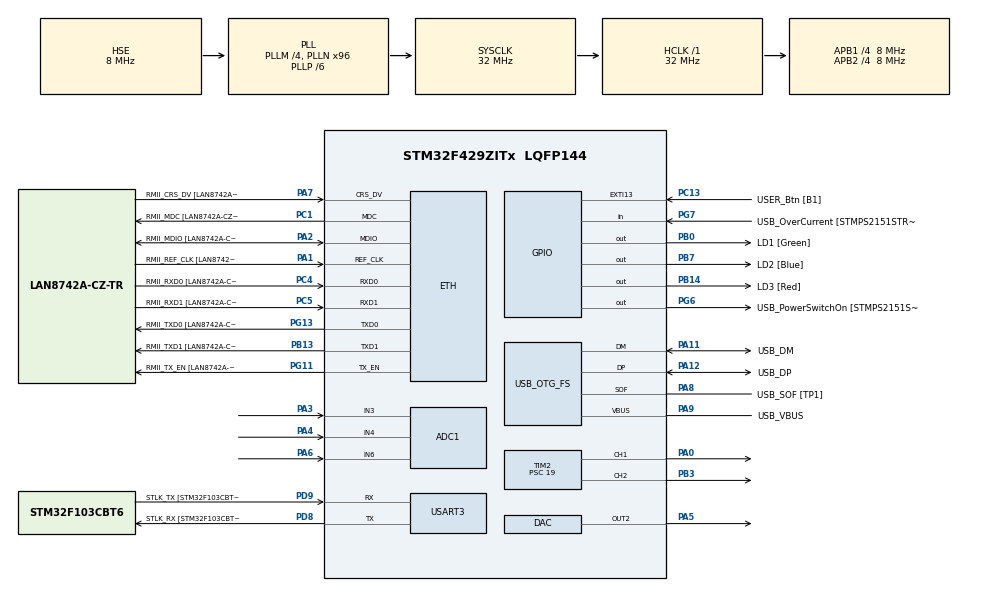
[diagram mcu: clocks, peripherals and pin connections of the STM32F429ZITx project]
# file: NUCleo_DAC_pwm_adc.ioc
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ADC1.Channel-0\#ChannelRegularConversion=ADC_CHANNEL_3
ADC1.Channel-1\#ChannelRegularConversion=ADC_CHANNEL_4
ADC1.Channel-2\#ChannelRegularConversion=ADC_CHANNEL_6
ADC1.ContinuousConvMode=ENABLE
ADC1.DMAContinuousRequests=ENABLE
ADC1.EOCSelection=ADC_EOC_SEQ_CONV
ADC1.NbrOfConversion=3
ADC1.NbrOfConversionFlag=1
ADC1.Rank-0\#ChannelRegularConversion=1
ADC1.Rank-1\#ChannelRegularConversion=2
ADC1.Rank-2\#ChannelRegularConversion=3
ADC1.SamplingTime-0\#ChannelRegularConversion=ADC_SAMPLETIME_112CYCLES
ADC1.SamplingTime-1\#ChannelRegularConversion=ADC_SAMPLETIME_112CYCLES
ADC1.SamplingTime-2\#ChannelRegularConversion=ADC_SAMPLETIME_56CYCLES
ADC1.ScanConvMode=ENABLE
ADC1.master=1
Dma.ADC1.0.Direction=DMA_PERIPH_TO_MEMORY
Dma.ADC1.0.FIFOMode=DMA_FIFOMODE_DISABLE
Dma.ADC1.0.Instance=DMA2_Stream0
Dma.ADC1.0.MemDataAlignment=DMA_MDATAALIGN_WORD
Dma.ADC1.0.MemInc=DMA_MINC_ENABLE
Dma.ADC1.0.Mode=DMA_CIRCULAR
Dma.ADC1.0.PeriphDataAlignment=DMA_PDATAALIGN_WORD
Dma.ADC1.0.PeriphInc=DMA_PINC_DISABLE
Dma.ADC1.0.Priority=DMA_PRIORITY_MEDIUM
Dma.DAC2.2.Direction=DMA_MEMORY_TO_PERIPH
Dma.DAC2.2.FIFOMode=DMA_FIFOMODE_DISABLE
Dma.DAC2.2.Instance=DMA1_Stream6
Dma.DAC2.2.MemDataAlignment=DMA_MDATAALIGN_WORD
Dma.DAC2.2.MemInc=DMA_MINC_ENABLE
Dma.DAC2.2.Mode=DMA_CIRCULAR
Dma.DAC2.2.PeriphDataAlignment=DMA_PDATAALIGN_WORD
Dma.DAC2.2.PeriphInc=DMA_PINC_DISABLE
Dma.DAC2.2.Priority=DMA_PRIORITY_MEDIUM
Dma.Request0=ADC1
Dma.Request1=TIM2_CH1
Dma.Request2=DAC2
Dma.TIM2_CH1.1.Direction=DMA_PERIPH_TO_MEMORY
Dma.TIM2_CH1.1.FIFOMode=DMA_FIFOMODE_DISABLE
Dma.TIM2_CH1.1.Instance=DMA1_Stream5
Dma.TIM2_CH1.1.MemDataAlignment=DMA_MDATAALIGN_WORD
Dma.TIM2_CH1.1.MemInc=DMA_MINC_ENABLE
Dma.TIM2_CH1.1.Mode=DMA_CIRCULAR
Dma.TIM2_CH1.1.PeriphDataAlignment=DMA_PDATAALIGN_WORD
Dma.TIM2_CH1.1.PeriphInc=DMA_PINC_DISABLE
Dma.TIM2_CH1.1.Priority=DMA_PRIORITY_MEDIUM
ETH.MediaInterface=HAL_ETH_RMII_MODE
ETH.PHY_Name=LAN8742A_PHY_ADDRESS
ETH.PHY_Value=0
ETH.PhyAddress=0
FREERTOS.Tasks01=Task1_LcnfigDAC,16,128,StartTask01,Default,NULL,Dynamic,NULL,NULL;Task2_LcnfigPWM,24,128,StartTask02,Default,NULL,Dynamic,NULL,NULL;Task3_ScnfigPWM,40,128,StartTask03,Default,NULL,Dynamic,NULL,NULL
Mcu.Family=STM32F4
Mcu.Name=STM32F429ZITx
Mcu.Package=LQFP144
NVIC.DMA1_Stream5_IRQn=true\:5\:0\:false\:false\:true\:true\:false\:true\:true
NVIC.DMA1_Stream6_IRQn=true\:5\:0\:false\:false\:true\:true\:false\:true\:true
NVIC.DMA2_Stream0_IRQn=true\:5\:0\:false\:false\:true\:true\:false\:true\:true
NVIC.PriorityGroup=NVIC_PRIORITYGROUP_4
NVIC.TIM7_IRQn=true\:15\:0\:false\:false\:true\:false\:false\:true\:true
NVIC.TimeBase=TIM7_IRQn
NVIC.TimeBaseIP=TIM7
PA0/WKUP.Signal=S_TIM2_CH1_ETR
PA1.GPIO_Label=RMII_REF_CLK [LAN8742A-CZ-TR_REFCLK0]
PA1.Mode=RMII
PA1.Signal=ETH_REF_CLK
PA10.GPIO_Label=USB_ID
PA10.Signal=USB_OTG_FS_ID
PA11.GPIO_Label=USB_DM
PA11.Mode=Device_Only
PA11.Signal=USB_OTG_FS_DM
PA12.GPIO_Label=USB_DP
PA12.Mode=Device_Only
PA12.Signal=USB_OTG_FS_DP
PA13.GPIO_Label=TMS
PA13.Mode=Serial_Wire
PA13.Signal=SYS_JTMS-SWDIO
PA14.GPIO_Label=TCK
PA14.Mode=Serial_Wire
PA14.Signal=SYS_JTCK-SWCLK
PA2.GPIO_Label=RMII_MDIO [LAN8742A-CZ-TR_MDIO]
PA2.Mode=RMII
PA2.Signal=ETH_MDIO
PA3.Signal=ADCx_IN3
PA4.Signal=ADCx_IN4
PA5.Signal=COMP_DAC2_group
PA6.Signal=ADCx_IN6
PA7.GPIO_Label=RMII_CRS_DV [LAN8742A-CZ-TR_CRS_DV]
PA7.Mode=RMII
PA7.Signal=ETH_CRS_DV
PA8.GPIO_Label=USB_SOF [TP1]
PA8.Mode=Activate_SOF_FS
PA8.Signal=USB_OTG_FS_SOF
PA9.GPIO_Label=USB_VBUS
PA9.Mode=Activate_VBUS
PA9.Signal=USB_OTG_FS_VBUS
PB0.GPIO_Label=LD1 [Green]
PB0.Signal=GPIO_Output
PB13.GPIO_Label=RMII_TXD1 [LAN8742A-CZ-TR_TXD1]
PB13.Mode=RMII
PB13.Signal=ETH_TXD1
PB14.GPIO_Label=LD3 [Red]
PB14.Signal=GPIO_Output
PB3.Signal=S_TIM2_CH2
PB7.GPIO_Label=LD2 [Blue]
PB7.Signal=GPIO_Output
PC1.GPIO_Label=RMII_MDC [LAN8742A-CZ-TR_MDC]
PC1.Mode=RMII
PC1.Signal=ETH_MDC
PC13.GPIO_Label=USER_Btn [B1]
PC13.Signal=GPXTI13
PC14/OSC32_IN.Mode=LSE-External-Oscillator
PC14/OSC32_IN.Signal=RCC_OSC32_IN
PC15/OSC32_OUT.Mode=LSE-External-Oscillator
PC15/OSC32_OUT.Signal=RCC_OSC32_OUT
PC4.GPIO_Label=RMII_RXD0 [LAN8742A-CZ-TR_RXD0]
PC4.Mode=RMII
PC4.Signal=ETH_RXD0
PC5.GPIO_Label=RMII_RXD1 [LAN8742A-CZ-TR_RXD1]
PC5.Mode=RMII
PC5.Signal=ETH_RXD1
PD8.GPIO_Label=STLK_RX [STM32F103CBT6_PA3]
PD8.Mode=Asynchronous
PD8.Signal=USART3_TX
PD9.GPIO_Label=STLK_TX [STM32F103CBT6_PA2]
PD9.Mode=Asynchronous
PD9.Signal=USART3_RX
PG11.GPIO_Label=RMII_TX_EN [LAN8742A-CZ-TR_TXEN]
PG11.Mode=RMII
PG11.Signal=ETH_TX_EN
PG13.GPIO_Label=RMII_TXD0 [LAN8742A-CZ-TR_TXD0]
PG13.Mode=RMII
PG13.Signal=ETH_TXD0
PG6.GPIO_Label=USB_PowerSwitchOn [STMPS2151STR_EN]
PG6.Signal=GPIO_Output
PG7.GPIO_Label=USB_OverCurrent [STMPS2151STR_FAULT]
PG7.Signal=GPIO_Input
PH0/OSC_IN.GPIO_Label=MCO [STM32F103CBT6_PA8]
PH0/OSC_IN.Mode=HSE-External-Clock-Source
PH0/OSC_IN.Signal=RCC_OSC_IN
PH1/OSC_OUT.Mode=HSE-External-Clock-Source
PH1/OSC_OUT.Signal=RCC_OSC_OUT
ProjectManager.HeapSize=0x200
ProjectManager.StackSize=0x400
ProjectManager.TargetToolchain=STM32CubeIDE
RCC.48MHZClocksFreq_Value=48000000
RCC.AHBFreq_Value=32000000
RCC.APB1CLKDivider=RCC_HCLK_DIV4
RCC.APB1Freq_Value=8000000
RCC.APB1TimFreq_Value=16000000
RCC.APB2CLKDivider=RCC_HCLK_DIV4
RCC.APB2Freq_Value=8000000
RCC.APB2TimFreq_Value=16000000
RCC.CortexFreq_Value=32000000
RCC.HCLKFreq_Value=32000000
RCC.HSE_VALUE=8000000
RCC.HSI_VALUE=16000000
RCC.PLLM=4
RCC.PLLMUL=RCC_PLL_MUL9
RCC.PLLN=96
RCC.PLLP=RCC_PLLP_DIV6
RCC.PRESCALERUSB=RCC_USBCLKSOURCE_PLL_DIV1_5
RCC.SYSCLKFreq_VALUE=32000000
RCC.SYSCLKSource=RCC_SYSCLKSOURCE_PLLCLK
RCC.SYSCLKSourceVirtual=RCC_SYSCLKSOURCE_PLLCLK
RCC.USBFreq_Value=48000000
RCC.VCOOutputFreq_Value=192000000
SH.ADCx_IN3.0=ADC1_IN3,IN3
SH.ADCx_IN4.0=ADC1_IN4,IN4
SH.ADCx_IN6.0=ADC1_IN6,IN6
SH.COMP_DAC2_group.0=DAC_OUT2,DAC_OUT2
SH.S_TIM2_CH1_ETR.0=TIM2_CH1,PWM Generation1 CH1
SH.S_TIM2_CH2.0=TIM2_CH2,PWM Generation2 CH2
TIM2.AutoReloadPreload=TIM_AUTORELOAD_PRELOAD_DISABLE
TIM2.Channel-PWM\ Generation1\ CH1=TIM_CHANNEL_1
TIM2.Channel-PWM\ Generation2\ CH2=TIM_CHANNEL_2
TIM2.Period=63999
TIM2.Prescaler=19
USART3.VirtualMode=VM_ASYNC
USB_OTG_FS.VirtualMode=Device_Only
VP_FREERTOS_VS_CMSIS_V2.Mode=CMSIS_V2
VP_SYS_VS_tim7.Mode=TIM7
VP_TIM2_VS_ClockSourceINT.Mode=Internal
board=NUCLEO-F429ZI

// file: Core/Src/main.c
/* USER CODE BEGIN Header */
/**
  ******************************************************************************
  * @file           : main.c
  * @brief          : Main program body
  ******************************************************************************
  * @attention
  *
  * Copyright (c) 2024 STMicroelectronics.
  * All rights reserved.
  *
  * This software is licensed under terms that can be found in the LICENSE file
  * in the root directory of this software component.
  * If no LICENSE file comes with this software, it is provided AS-IS.
  *
  ******************************************************************************
  */
/* USER CODE END Header */
#include "main.h"
#include "string.h"
#include "cmsis_os.h"

ETH_TxPacketConfig TxConfig;
ETH_DMADescTypeDef  DMARxDscrTab[ETH_RX_DESC_CNT]; /* Ethernet Rx DMA Descriptors */
ETH_DMADescTypeDef  DMATxDscrTab[ETH_TX_DESC_CNT]; /* Ethernet Tx DMA Descriptors */

ADC_HandleTypeDef hadc1;
DMA_HandleTypeDef hdma_adc1;

DAC_HandleTypeDef hdac;
DMA_HandleTypeDef hdma_dac2;

ETH_HandleTypeDef heth;

TIM_HandleTypeDef htim2;
DMA_HandleTypeDef hdma_tim2_ch1;

UART_HandleTypeDef huart3;

PCD_HandleTypeDef hpcd_USB_OTG_FS;

/* Definitions for Task1_LcnfigDAC */
osThreadId_t Task1_LcnfigDACHandle;
const osThreadAttr_t Task1_LcnfigDAC_attributes = {
  .name = "Task1_LcnfigDAC",
  .stack_size = 128 * 4,
  .priority = (osPriority_t) osPriorityBelowNormal,
};
/* Definitions for Task2_LcnfigPWM */
osThreadId_t Task2_LcnfigPWMHandle;
const osThreadAttr_t Task2_LcnfigPWM_attributes = {
  .name = "Task2_LcnfigPWM",
  .stack_size = 128 * 4,
  .priority = (osPriority_t) osPriorityNormal,
};
/* Definitions for Task3_ScnfigPWM */
osThreadId_t Task3_ScnfigPWMHandle;
const osThreadAttr_t Task3_ScnfigPWM_attributes = {
  .name = "Task3_ScnfigPWM",
  .stack_size = 128 * 4,
  .priority = (osPriority_t) osPriorityHigh,
};

void SystemClock_Config(void);
static void MX_GPIO_Init(void);
static void MX_DMA_Init(void);
static void MX_ETH_Init(void);
static void MX_USART3_UART_Init(void);
static void MX_USB_OTG_FS_PCD_Init(void);
static void MX_ADC1_Init(void);
static void MX_TIM2_Init(void);
static void MX_DAC_Init(void);
void StartTask01(void *argument);
void StartTask02(void *argument);
void StartTask03(void *argument);

/* USER CODE BEGIN PFP */
uint8_t sizeof_ADCbuff =3;//define olarak tanımlamaya çalış.
volatile uint32_t ADCbuff_contio[3];
volatile uint32_t ADCbuff_disc[3];
volatile uint32_t ADCbuff_product1[3];
volatile uint32_t ADCbuff_product2[3];
/* USER CODE END PFP */

/* USER CODE BEGIN 0 */

void HAL_ADC_ConvCpltCallback(ADC_HandleTypeDef* hadc){
	ADCbuff_disc[0] =  ADCbuff_contio[0];//dac led
	ADCbuff_disc[1] =  ADCbuff_contio[1];//pwm led
	ADCbuff_disc[2] =  ADCbuff_contio[2];//pwm servo

}
/* USER CODE END 0 */

int main(void)
{

  /* MCU Configuration--------------------------------------------------------*/

  /* Reset of all peripherals, Initializes the Flash interface and the Systick. */
  HAL_Init();

  /* Configure the system clock */
  SystemClock_Config();

  /* Initialize all configured peripherals */
  MX_GPIO_Init();
  MX_DMA_Init();
  MX_ETH_Init();
  MX_USART3_UART_Init();
  MX_USB_OTG_FS_PCD_Init();
  MX_ADC1_Init();
  MX_TIM2_Init();
  MX_DAC_Init();
  /* USER CODE BEGIN 2 */
  HAL_ADC_Start_DMA(&hadc1, (uint32_t *)ADCbuff_contio , hadc1.Init.NbrOfConversion);
  /*
  HAL_DAC_Start_DMA(&hdac, DAC_CHANNEL_2, (uint16_t *)ADCbuff_product1 ,1 ,DAC_ALIGN_12B_R);
  HAL_TIM_PWM_Start_DMA(&htim2, TIM_CHANNEL_1, (uint16_t *)ADCbuff_product2[0],1);//first led  , second servo
  HAL_TIM_PWM_Start_DMA(&htim2, TIM_CHANNEL_2, (uint16_t *)ADCbuff_product2[1],1);
  */

  HAL_DAC_Start_DMA(&hdac, DAC_CHANNEL_2, (uint32_t *)ADCbuff_product1[0] ,sizeof(ADCbuff_product1[0])/sizeof(ADCbuff_product1[0]),DAC_ALIGN_12B_R);
  HAL_TIM_PWM_Start_DMA(&htim2, TIM_CHANNEL_1, (uint32_t *)ADCbuff_product2[0],1);//first led  , second servo
  HAL_TIM_PWM_Start_DMA(&htim2, TIM_CHANNEL_2, (uint32_t *)ADCbuff_product2[1],1);
  /* USER CODE END 2 */

  /* Init scheduler */
  osKernelInitialize();

  /* Create the thread(s) */
  /* creation of Task1_LcnfigDAC */
  Task1_LcnfigDACHandle = osThreadNew(StartTask01, NULL, &Task1_LcnfigDAC_attributes);

  /* creation of Task2_LcnfigPWM */
  Task2_LcnfigPWMHandle = osThreadNew(StartTask02, NULL, &Task2_LcnfigPWM_attributes);

  /* creation of Task3_ScnfigPWM */
  Task3_ScnfigPWMHandle = osThreadNew(StartTask03, NULL, &Task3_ScnfigPWM_attributes);

  /* Start scheduler */
  osKernelStart();
  /* We should never get here as control is now taken by the scheduler */
  /* Infinite loop */
  while (1)
  {

  }
}

void SystemClock_Config(void)
{
  RCC_OscInitTypeDef RCC_OscInitStruct = {0};
  RCC_ClkInitTypeDef RCC_ClkInitStruct = {0};

  /** Configure the main internal regulator output voltage
  */
  __HAL_RCC_PWR_CLK_ENABLE();
  __HAL_PWR_VOLTAGESCALING_CONFIG(PWR_REGULATOR_VOLTAGE_SCALE3);

  /** Initializes the RCC Oscillators according to the specified parameters
  * in the RCC_OscInitTypeDef structure.
  */
  RCC_OscInitStruct.OscillatorType = RCC_OSCILLATORTYPE_HSE;
  RCC_OscInitStruct.HSEState = RCC_HSE_BYPASS;
  RCC_OscInitStruct.PLL.PLLState = RCC_PLL_ON;
  RCC_OscInitStruct.PLL.PLLSource = RCC_PLLSOURCE_HSE;
  RCC_OscInitStruct.PLL.PLLM = 4;
  RCC_OscInitStruct.PLL.PLLN = 96;
  RCC_OscInitStruct.PLL.PLLP = RCC_PLLP_DIV6;
  RCC_OscInitStruct.PLL.PLLQ = 4;
  if (HAL_RCC_OscConfig(&RCC_OscInitStruct) != HAL_OK)
  {
    Error_Handler();
  }

  /** Initializes the CPU, AHB and APB buses clocks
  */
  RCC_ClkInitStruct.ClockType = RCC_CLOCKTYPE_HCLK|RCC_CLOCKTYPE_SYSCLK
                              |RCC_CLOCKTYPE_PCLK1|RCC_CLOCKTYPE_PCLK2;
  RCC_ClkInitStruct.SYSCLKSource = RCC_SYSCLKSOURCE_PLLCLK;
  RCC_ClkInitStruct.AHBCLKDivider = RCC_SYSCLK_DIV1;
  RCC_ClkInitStruct.APB1CLKDivider = RCC_HCLK_DIV4;
  RCC_ClkInitStruct.APB2CLKDivider = RCC_HCLK_DIV4;

  if (HAL_RCC_ClockConfig(&RCC_ClkInitStruct, FLASH_LATENCY_1) != HAL_OK)
  {
    Error_Handler();
  }
}

static void MX_ADC1_Init(void)
{

  ADC_ChannelConfTypeDef sConfig = {0};

  /** Configure the global features of the ADC (Clock, Resolution, Data Alignment and number of conversion)
  */
  hadc1.Instance = ADC1;
  hadc1.Init.ClockPrescaler = ADC_CLOCK_SYNC_PCLK_DIV2;
  hadc1.Init.Resolution = ADC_RESOLUTION_12B;
  hadc1.Init.ScanConvMode = ENABLE;
  hadc1.Init.ContinuousConvMode = ENABLE;
  hadc1.Init.DiscontinuousConvMode = DISABLE;
  hadc1.Init.ExternalTrigConvEdge = ADC_EXTERNALTRIGCONVEDGE_NONE;
  hadc1.Init.ExternalTrigConv = ADC_SOFTWARE_START;
  hadc1.Init.DataAlign = ADC_DATAALIGN_RIGHT;
  hadc1.Init.NbrOfConversion = 3;
  hadc1.Init.DMAContinuousRequests = ENABLE;
  hadc1.Init.EOCSelection = ADC_EOC_SEQ_CONV;
  if (HAL_ADC_Init(&hadc1) != HAL_OK)
  {
    Error_Handler();
  }

  /** Configure for the selected ADC regular channel its corresponding rank in the sequencer and its sample time.
  */
  sConfig.Channel = ADC_CHANNEL_3;
  sConfig.Rank = 1;
  sConfig.SamplingTime = ADC_SAMPLETIME_112CYCLES;
  if (HAL_ADC_ConfigChannel(&hadc1, &sConfig) != HAL_OK)
  {
    Error_Handler();
  }

  /** Configure for the selected ADC regular channel its corresponding rank in the sequencer and its sample time.
  */
  sConfig.Channel = ADC_CHANNEL_4;
  sConfig.Rank = 2;
  if (HAL_ADC_ConfigChannel(&hadc1, &sConfig) != HAL_OK)
  {
    Error_Handler();
  }

  /** Configure for the selected ADC regular channel its corresponding rank in the sequencer and its sample time.
  */
  sConfig.Channel = ADC_CHANNEL_6;
  sConfig.Rank = 3;
  sConfig.SamplingTime = ADC_SAMPLETIME_56CYCLES;
  if (HAL_ADC_ConfigChannel(&hadc1, &sConfig) != HAL_OK)
  {
    Error_Handler();
  }

}

static void MX_DAC_Init(void)
{

  DAC_ChannelConfTypeDef sConfig = {0};

  /** DAC Initialization
  */
  hdac.Instance = DAC;
  if (HAL_DAC_Init(&hdac) != HAL_OK)
  {
    Error_Handler();
  }

  /** DAC channel OUT2 config
  */
  sConfig.DAC_Trigger = DAC_TRIGGER_NONE;
  sConfig.DAC_OutputBuffer = DAC_OUTPUTBUFFER_ENABLE;
  if (HAL_DAC_ConfigChannel(&hdac, &sConfig, DAC_CHANNEL_2) != HAL_OK)
  {
    Error_Handler();
  }

}

static void MX_ETH_Init(void)
{

   static uint8_t MACAddr[6];

  heth.Instance = ETH;
  MACAddr[0] = 0x00;
  MACAddr[1] = 0x80;
  MACAddr[2] = 0xE1;
  MACAddr[3] = 0x00;
  MACAddr[4] = 0x00;
  MACAddr[5] = 0x00;
  heth.Init.MACAddr = &MACAddr[0];
  heth.Init.MediaInterface = HAL_ETH_RMII_MODE;
  heth.Init.TxDesc = DMATxDscrTab;
  heth.Init.RxDesc = DMARxDscrTab;
  heth.Init.RxBuffLen = 1524;

  if (HAL_ETH_Init(&heth) != HAL_OK)
  {
    Error_Handler();
  }

  memset(&TxConfig, 0 , sizeof(ETH_TxPacketConfig));
  TxConfig.Attributes = ETH_TX_PACKETS_FEATURES_CSUM | ETH_TX_PACKETS_FEATURES_CRCPAD;
  TxConfig.ChecksumCtrl = ETH_CHECKSUM_IPHDR_PAYLOAD_INSERT_PHDR_CALC;
  TxConfig.CRCPadCtrl = ETH_CRC_PAD_INSERT;

}

static void MX_TIM2_Init(void)
{

  TIM_ClockConfigTypeDef sClockSourceConfig = {0};
  TIM_MasterConfigTypeDef sMasterConfig = {0};
  TIM_OC_InitTypeDef sConfigOC = {0};

  htim2.Instance = TIM2;
  htim2.Init.Prescaler = 19;
  htim2.Init.CounterMode = TIM_COUNTERMODE_UP;
  htim2.Init.Period = 63999;
  htim2.Init.ClockDivision = TIM_CLOCKDIVISION_DIV1;
  htim2.Init.AutoReloadPreload = TIM_AUTORELOAD_PRELOAD_DISABLE;
  if (HAL_TIM_Base_Init(&htim2) != HAL_OK)
  {
    Error_Handler();
  }
  sClockSourceConfig.ClockSource = TIM_CLOCKSOURCE_INTERNAL;
  if (HAL_TIM_ConfigClockSource(&htim2, &sClockSourceConfig) != HAL_OK)
  {
    Error_Handler();
  }
  if (HAL_TIM_PWM_Init(&htim2) != HAL_OK)
  {
    Error_Handler();
  }
  sMasterConfig.MasterOutputTrigger = TIM_TRGO_RESET;
  sMasterConfig.MasterSlaveMode = TIM_MASTERSLAVEMODE_DISABLE;
  if (HAL_TIMEx_MasterConfigSynchronization(&htim2, &sMasterConfig) != HAL_OK)
  {
    Error_Handler();
  }
  sConfigOC.OCMode = TIM_OCMODE_PWM1;
  sConfigOC.Pulse = 0;
  sConfigOC.OCPolarity = TIM_OCPOLARITY_HIGH;
  sConfigOC.OCFastMode = TIM_OCFAST_DISABLE;
  if (HAL_TIM_PWM_ConfigChannel(&htim2, &sConfigOC, TIM_CHANNEL_1) != HAL_OK)
  {
    Error_Handler();
  }
  if (HAL_TIM_PWM_ConfigChannel(&htim2, &sConfigOC, TIM_CHANNEL_2) != HAL_OK)
  {
    Error_Handler();
  }
  HAL_TIM_MspPostInit(&htim2);

}

static void MX_USART3_UART_Init(void)
{

  huart3.Instance = USART3;
  huart3.Init.BaudRate = 115200;
  huart3.Init.WordLength = UART_WORDLENGTH_8B;
  huart3.Init.StopBits = UART_STOPBITS_1;
  huart3.Init.Parity = UART_PARITY_NONE;
  huart3.Init.Mode = UART_MODE_TX_RX;
  huart3.Init.HwFlowCtl = UART_HWCONTROL_NONE;
  huart3.Init.OverSampling = UART_OVERSAMPLING_16;
  if (HAL_UART_Init(&huart3) != HAL_OK)
  {
    Error_Handler();
  }

}

static void MX_USB_OTG_FS_PCD_Init(void)
{

  hpcd_USB_OTG_FS.Instance = USB_OTG_FS;
  hpcd_USB_OTG_FS.Init.dev_endpoints = 4;
  hpcd_USB_OTG_FS.Init.speed = PCD_SPEED_FULL;
  hpcd_USB_OTG_FS.Init.dma_enable = DISABLE;
  hpcd_USB_OTG_FS.Init.phy_itface = PCD_PHY_EMBEDDED;
  hpcd_USB_OTG_FS.Init.Sof_enable = ENABLE;
  hpcd_USB_OTG_FS.Init.low_power_enable = DISABLE;
  hpcd_USB_OTG_FS.Init.lpm_enable = DISABLE;
  hpcd_USB_OTG_FS.Init.vbus_sensing_enable = ENABLE;
  hpcd_USB_OTG_FS.Init.use_dedicated_ep1 = DISABLE;
  if (HAL_PCD_Init(&hpcd_USB_OTG_FS) != HAL_OK)
  {
    Error_Handler();
  }

}

static void MX_DMA_Init(void)
{

  /* DMA controller clock enable */
  __HAL_RCC_DMA2_CLK_ENABLE();
  __HAL_RCC_DMA1_CLK_ENABLE();

  /* DMA interrupt init */
  /* DMA1_Stream5_IRQn interrupt configuration */
  HAL_NVIC_SetPriority(DMA1_Stream5_IRQn, 5, 0);
  HAL_NVIC_EnableIRQ(DMA1_Stream5_IRQn);
  /* DMA1_Stream6_IRQn interrupt configuration */
  HAL_NVIC_SetPriority(DMA1_Stream6_IRQn, 5, 0);
  HAL_NVIC_EnableIRQ(DMA1_Stream6_IRQn);
  /* DMA2_Stream0_IRQn interrupt configuration */
  HAL_NVIC_SetPriority(DMA2_Stream0_IRQn, 5, 0);
  HAL_NVIC_EnableIRQ(DMA2_Stream0_IRQn);

}

static void MX_GPIO_Init(void)
{
  GPIO_InitTypeDef GPIO_InitStruct = {0};

  /* GPIO Ports Clock Enable */
  __HAL_RCC_GPIOC_CLK_ENABLE();
  __HAL_RCC_GPIOH_CLK_ENABLE();
  __HAL_RCC_GPIOA_CLK_ENABLE();
  __HAL_RCC_GPIOB_CLK_ENABLE();
  __HAL_RCC_GPIOD_CLK_ENABLE();
  __HAL_RCC_GPIOG_CLK_ENABLE();

  /*Configure GPIO pin Output Level */
  HAL_GPIO_WritePin(GPIOB, LD1_Pin|LD3_Pin|LD2_Pin, GPIO_PIN_RESET);

  /*Configure GPIO pin Output Level */
  HAL_GPIO_WritePin(USB_PowerSwitchOn_GPIO_Port, USB_PowerSwitchOn_Pin, GPIO_PIN_RESET);

  /*Configure GPIO pin : USER_Btn_Pin */
  GPIO_InitStruct.Pin = USER_Btn_Pin;
  GPIO_InitStruct.Mode = GPIO_MODE_IT_RISING;
  GPIO_InitStruct.Pull = GPIO_NOPULL;
  HAL_GPIO_Init(USER_Btn_GPIO_Port, &GPIO_InitStruct);

  /*Configure GPIO pins : LD1_Pin LD3_Pin LD2_Pin */
  GPIO_InitStruct.Pin = LD1_Pin|LD3_Pin|LD2_Pin;
  GPIO_InitStruct.Mode = GPIO_MODE_OUTPUT_PP;
  GPIO_InitStruct.Pull = GPIO_NOPULL;
  GPIO_InitStruct.Speed = GPIO_SPEED_FREQ_LOW;
  HAL_GPIO_Init(GPIOB, &GPIO_InitStruct);

  /*Configure GPIO pin : USB_PowerSwitchOn_Pin */
  GPIO_InitStruct.Pin = USB_PowerSwitchOn_Pin;
  GPIO_InitStruct.Mode = GPIO_MODE_OUTPUT_PP;
  GPIO_InitStruct.Pull = GPIO_NOPULL;
  GPIO_InitStruct.Speed = GPIO_SPEED_FREQ_LOW;
  HAL_GPIO_Init(USB_PowerSwitchOn_GPIO_Port, &GPIO_InitStruct);

  /*Configure GPIO pin : USB_OverCurrent_Pin */
  GPIO_InitStruct.Pin = USB_OverCurrent_Pin;
  GPIO_InitStruct.Mode = GPIO_MODE_INPUT;
  GPIO_InitStruct.Pull = GPIO_NOPULL;
  HAL_GPIO_Init(USB_OverCurrent_GPIO_Port, &GPIO_InitStruct);

}

void StartTask01(void *argument)
{
  /* USER CODE BEGIN 5 */
  /* Infinite loop */
  for(;;)
  {
	  ADCbuff_product1[0]=ADCbuff_disc[0];
    osDelay(80);
  }
  /* USER CODE END 5 */
}

void StartTask02(void *argument)
{
  /* USER CODE BEGIN StartTask02 */
  /* Infinite loop */
  for(;;)
  {
	  ADCbuff_product2[0]=ADCbuff_disc[1];
    osDelay(100);
  }
  /* USER CODE END StartTask02 */
}

void StartTask03(void *argument)
{
  /* USER CODE BEGIN StartTask03 */
  /* Infinite loop */
  for(;;)
  {
	  ADCbuff_product2[1]=((8000-640)/4096)*ADCbuff_disc[1]+640 ;
    osDelay(120);
  }
  /* USER CODE END StartTask03 */
}

void HAL_TIM_PeriodElapsedCallback(TIM_HandleTypeDef *htim)
{
  if (htim->Instance == TIM7) {
    HAL_IncTick();
  }
}

void Error_Handler(void)
{
  __disable_irq();
  while (1)
  {
  }
}
